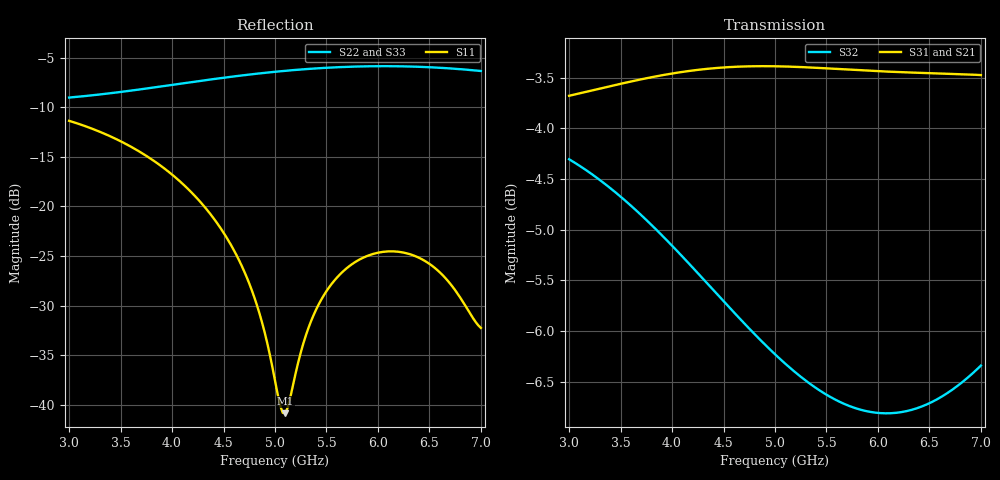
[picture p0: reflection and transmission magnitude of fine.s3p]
! yapnr rf: divider-osh-w-star-sched-w-nom-fwd, footprint re-simulated (refine 2)
! spec sha256 8c079531440f0056dd54a4f90b423d4cc30312f36e97c5c88ba4866864ec55a1
! 3 ports renormalized to 50 ohm, e^(+jwt) convention
# GHz S RI R 50
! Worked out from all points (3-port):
!   161 points, 3 GHz to 7 GHz, reference 50 ohm
!   strongest paths, dB at 3 GHz, 4 GHz, 5 GHz, 6 GHz, 7 GHz:
!     S31: -3.7, -3.5, -3.4, -3.4, -3.5
!     S21: -3.7, -3.5, -3.4, -3.4, -3.5
!     S32: -4.3, -5.2, -6.2, -6.8, -6.3
!   lowest |S11| = -40.9 dB at 5.1 GHz (marker M1), VSWR 1.02, Z = 49.5 + j0.743 ohm
!   |S11| at or under -10 dB: start of sweep to end of sweep
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3  -0.0916 0.2538  -0.3561 -0.55  -0.3561 -0.55
   -0.3561 -0.5495  0.3088 0.1719  -0.5772 -0.1949
   -0.3561 -0.5495  -0.5772 -0.1949  0.3088 0.1719
3.6  0.00437 0.1998  -0.5709 -0.3425  -0.5709 -0.3425
     -0.5706 -0.3426  0.3795 -0.0516  -0.561 0.1391
     -0.5706 -0.3426  -0.561 0.1391  0.3795 -0.0516
4.35  0.0439 0.0838  -0.6738 0.0328  -0.6738 0.0328
      -0.6745 0.0317  0.2803 -0.3315  -0.319 0.4214
      -0.6745 0.0317  -0.319 0.4214  0.2803 -0.3315
4.75  0.0243 0.0328  -0.6305 0.2432  -0.6305 0.2432
      -0.6323 0.2421  0.1562 -0.4343  -0.1517 0.4791
      -0.6323 0.2421  -0.1517 0.4791  0.1562 -0.4343
5  0.00376 0.0127  -0.5691 0.3636  -0.5691 0.3636
   -0.5716 0.363  0.063 -0.4725  -0.0495 0.4856
   -0.5716 0.363  -0.0495 0.4856  0.063 -0.4725
5.1  -0.00507 0.00751  -0.5378 0.4078  -0.5378 0.4078
     -0.5405 0.4075  0.0238 -0.4815  -0.0103 0.4828
     -0.5405 0.4075  -0.0103 0.4828  0.0238 -0.4815
5.425  -0.0321 0.00124  -0.4134 0.5313  -0.4134 0.5313
       -0.4164 0.5324  -0.106 -0.4852  0.1083 0.4561
       -0.4164 0.5324  0.1083 0.4561  -0.106 -0.4852
5.875  -0.0545 0.0114  -0.1979 0.6407  -0.1979 0.6407
       -0.1999 0.6436  -0.2733 -0.4278  0.2482 0.3846
       -0.1999 0.6436  0.2482 0.3846  -0.2733 -0.4278
6.475  -0.0464 0.0243  0.1243 0.6567  0.1243 0.6567
       0.1256 0.6601  -0.43 -0.2614  0.3924 0.2422
       0.1256 0.6601  0.3924 0.2422  -0.43 -0.2614
7  -0.0244 -0.000873  0.3894 0.5423  0.3894 0.5423
   0.3929 0.5432  -0.4751 -0.075  0.4762 0.0739
   0.3929 0.5432  0.4762 0.0739  -0.4751 -0.075
